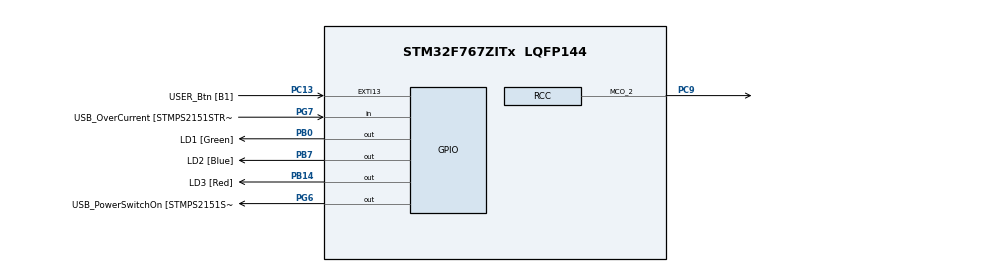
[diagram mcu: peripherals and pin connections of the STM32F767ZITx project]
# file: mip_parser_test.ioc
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CORTEX_M7.AccessPermission_Spec=MPU_REGION_FULL_ACCESS
CORTEX_M7.CPU_DCache=Disabled
CORTEX_M7.CPU_ICache=Enabled
CORTEX_M7.FlashInterface=TCM_Enabled
CORTEX_M7.IsBufferable_Spec=MPU_ACCESS_BUFFERABLE
CORTEX_M7.IsCacheable_Spec=MPU_ACCESS_CACHEABLE
CORTEX_M7.default_mode_Activation=1
Mcu.Family=STM32F7
Mcu.Name=STM32F767ZITx
Mcu.Package=LQFP144
NVIC.PriorityGroup=NVIC_PRIORITYGROUP_4
PA10.GPIO_Label=USB_ID
PA10.Signal=USB_OTG_FS_ID
PA11.GPIO_Label=USB_DM
PA11.Signal=USB_OTG_FS_DM
PA12.GPIO_Label=USB_DP
PA12.Signal=USB_OTG_FS_DP
PA8.GPIO_Label=USB_SOF [TP1]
PA8.Signal=USB_OTG_FS_SOF
PA9.GPIO_Label=USB_VBUS
PA9.Signal=USB_OTG_FS_VBUS
PB0.GPIO_Label=LD1 [Green]
PB0.Signal=GPIO_Output
PB14.GPIO_Label=LD3 [Red]
PB14.Signal=GPIO_Output
PB3.GPIO_Label=SW0
PB3.Signal=SYS_JTDO-SWO
PB7.GPIO_Label=LD2 [Blue]
PB7.Signal=GPIO_Output
PC13.GPIO_Label=USER_Btn [B1]
PC13.Signal=GPXTI13
PC9.Mode=Clock-out-2
PC9.Signal=RCC_MCO_2
PD8.GPIO_Label=STLK_RX [STM32F103CBT6_PA3]
PD8.Signal=USART3_TX
PD9.GPIO_Label=STLK_TX [STM32F103CBT6_PA2]
PD9.Signal=USART3_RX
PG6.GPIO_Label=USB_PowerSwitchOn [STMPS2151STR_EN]
PG6.Signal=GPIO_Output
PG7.GPIO_Label=USB_OverCurrent [STMPS2151STR_FAULT]
PG7.Signal=GPIO_Input
PH0/OSC_IN.GPIO_Label=MCO [STM32F103CBT6_PA8]
PH0/OSC_IN.Mode=HSE-External-Clock-Source
PH0/OSC_IN.Signal=RCC_OSC_IN
PH1/OSC_OUT.Mode=HSE-External-Clock-Source
PH1/OSC_OUT.Signal=RCC_OSC_OUT
ProjectManager.HeapSize=0x200
ProjectManager.StackSize=0x400
ProjectManager.TargetToolchain=CMake
RCC.48MHZClocksFreq_Value=24000000
RCC.AHBFreq_Value=200000000
RCC.APB1CLKDivider=RCC_HCLK_DIV4
RCC.APB1Freq_Value=50000000
RCC.APB1TimFreq_Value=100000000
RCC.APB2CLKDivider=RCC_HCLK_DIV2
RCC.APB2Freq_Value=100000000
RCC.APB2TimFreq_Value=200000000
RCC.CortexFreq_Value=200000000
RCC.HCLKFreq_Value=200000000
RCC.HSE_VALUE=8000000
RCC.HSI_VALUE=16000000
RCC.LSE_VALUE=32768
RCC.PLLM=8
RCC.PLLMUL=RCC_PLL_MUL9
RCC.PLLN=400
RCC.PLLSourceVirtual=RCC_PLLSOURCE_HSE
RCC.PRESCALERUSB=RCC_USBCLKSOURCE_PLL_DIV1_5
RCC.RCC_MCODiv2=RCC_MCODIV_5
RCC.SYSCLKFreq_VALUE=200000000
RCC.SYSCLKSource=RCC_SYSCLKSOURCE_PLLCLK
RCC.SYSCLKSourceVirtual=RCC_SYSCLKSOURCE_PLLCLK
RCC.USBFreq_Value=200000000
RCC.VCOOutputFreq_Value=400000000
board=NUCLEO-F767ZI

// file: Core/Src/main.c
/* USER CODE BEGIN Header */
/**
  ******************************************************************************
  * @file           : main.c
  * @brief          : Main program body
  ******************************************************************************
  * @attention
  *
  * Copyright (c) 2024 STMicroelectronics.
  * All rights reserved.
  *
  * This software is licensed under terms that can be found in the LICENSE file
  * in the root directory of this software component.
  * If no LICENSE file comes with this software, it is provided AS-IS.
  *
  ******************************************************************************
  */
/* USER CODE END Header */
#include "main.h"

/* USER CODE BEGIN Includes */
#include <mip/mip_parser.h>

#include "stdint.h"
#include "stddef.h"
#include "string.h"
/* USER CODE END Includes */

void SystemClock_Config(void);
static void MPU_Config(void);
static void MX_GPIO_Init(void);

/* USER CODE BEGIN 0 */
uint8_t data[8192] = {0};
size_t num_bytes = 0;
const uint8_t DATA_PACKET[] = {
    0x75,0x65,0x82,0xc1,0x0e,0xd3,0x40,0x8c,0x84,0xef,0x9d,0xb2,0x2d,0x0f,0x00,0x00,
    0x00,0x00,0x0a,0xd5,0x00,0x00,0x00,0xd4,0x7c,0x36,0x4c,0x40,0x10,0x05,0x7f,0xff,
    0xff,0xf8,0x7f,0xc0,0x00,0x00,0x7f,0xff,0xff,0xf8,0x00,0x01,0x10,0x06,0x7f,0xc0,
    0x00,0x00,0x7f,0xc0,0x00,0x00,0x7f,0xc0,0x00,0x00,0x00,0x01,0x10,0x07,0x00,0x00,
    0x00,0x00,0x00,0x00,0x00,0x00,0x00,0x00,0x00,0x00,0x00,0x01,0x08,0x10,0x00,0x02,
    0x00,0x00,0x00,0x00,0x1c,0x01,0x00,0x00,0x00,0x00,0x00,0x00,0x00,0x00,0x00,0x00,
    0x00,0x00,0x00,0x00,0x00,0x00,0x00,0x00,0x00,0x00,0x00,0x00,0x00,0x00,0x00,0x00,
    0x10,0x02,0x7f,0xc0,0x00,0x00,0x7f,0xc0,0x00,0x00,0x7f,0xc0,0x00,0x00,0x00,0x00,
    0x1c,0x42,0x7f,0xf8,0x00,0x00,0x00,0x00,0x00,0x00,0x7f,0xf8,0x00,0x00,0x00,0x00,
    0x00,0x00,0x7f,0xf8,0x00,0x00,0x00,0x00,0x00,0x00,0x00,0x00,0x09,0x46,0x44,0x64,
    0x26,0x87,0x00,0x04,0x01,0x10,0x08,0x00,0x00,0x00,0x00,0x00,0x00,0x00,0x00,0x00,
    0x00,0x00,0x00,0x00,0x00,0x10,0x09,0x00,0x00,0x00,0x00,0x00,0x00,0x00,0x00,0x00,
    0x00,0x00,0x00,0x00,0x00,0x87,0x56,  // 199 bytes
};

mip_parser parser;
size_t num_parsed = 0;

uint8_t parse_buffer[1024];

bool callback(void* p, const mip_packet* packet, timestamp_type ts)
{
    (void)p;
    (void)ts;

    num_parsed++;
    return true;
}

/* USER CODE END 0 */

int main(void)
{

  /* MPU Configuration--------------------------------------------------------*/
  MPU_Config();

  /* Enable the CPU Cache */

  /* Enable I-Cache---------------------------------------------------------*/
  SCB_EnableICache();

  /* MCU Configuration--------------------------------------------------------*/

  /* Reset of all peripherals, Initializes the Flash interface and the Systick. */
  LL_APB1_GRP1_EnableClock(LL_APB1_GRP1_PERIPH_PWR);
  LL_APB2_GRP1_EnableClock(LL_APB2_GRP1_PERIPH_SYSCFG);

  /* System interrupt init*/
  NVIC_SetPriorityGrouping(NVIC_PRIORITYGROUP_4);

  /* Configure the system clock */
  SystemClock_Config();

  /* Initialize all configured peripherals */
  MX_GPIO_Init();
  /* USER CODE BEGIN 2 */

  const size_t num_pkts_buffered = sizeof(data) / sizeof(DATA_PACKET);
  for(size_t i=0; i<num_pkts_buffered; i++)
      memcpy(data+i*sizeof(DATA_PACKET), DATA_PACKET, sizeof(DATA_PACKET));
  num_bytes = num_pkts_buffered * sizeof(DATA_PACKET);

  mip_parser_init(&parser, parse_buffer, sizeof(parse_buffer), &callback, NULL, MIPPARSER_DEFAULT_TIMEOUT_MS);

  /* USER CODE END 2 */

  /* Infinite loop */
  /* USER CODE BEGIN WHILE */
  while (1)
  {
      mip_parser_reset(&parser);
      num_parsed = 0;

      // Timing on the blue LED pin.
      // Use an oscilloscope with "+width" measurement on PB7 to measure time taken.
      // Divide num_bytes by the measured time to get throughput in B/s.
      LL_GPIO_SetOutputPin(LD2_GPIO_Port, LD2_Pin);
#if 0  // Send chunks to mip_parser_parse vs directly writing data via get_write_ptr
      const unsigned int n = 4;  // sizeof(data) must divide by this evenly
      for(unsigned int i=0; i<n; i++)
          mip_parser_parse(&parser, data+sizeof(data)/n*i, sizeof(data)/n, 0, MIPPARSER_UNLIMITED_PACKETS);
#else
      size_t sent = 0;
      while(sent < num_bytes)
      {
          const size_t remaining = num_bytes-sent;

          uint8_t* ptr;
          size_t count = mip_parser_get_write_ptr(&parser, &ptr);
          if(count > remaining)
              count = remaining;

          memcpy(ptr, data+sent, count);

          mip_parser_process_written(&parser, count, 0, MIPPARSER_UNLIMITED_PACKETS);
          sent += count;
      }
#endif
      LL_GPIO_ResetOutputPin(LD2_GPIO_Port, LD2_Pin);

      // Green LED if all packets parsed, red LED otherwise
      if(num_parsed == num_pkts_buffered)
          LL_GPIO_SetOutputPin(LD1_GPIO_Port, LD1_Pin);
      else
          LL_GPIO_SetOutputPin(LD3_GPIO_Port, LD3_Pin);
    /* USER CODE END WHILE */

    /* USER CODE BEGIN 3 */
        while(!LL_GPIO_IsInputPinSet(USER_Btn_GPIO_Port, USER_Btn_Pin));
        LL_GPIO_ResetOutputPin(LD1_GPIO_Port, LD1_Pin);
        LL_GPIO_ResetOutputPin(LD3_GPIO_Port, LD3_Pin);
        while(LL_GPIO_IsInputPinSet(USER_Btn_GPIO_Port, USER_Btn_Pin));
  }
  /* USER CODE END 3 */
}

void SystemClock_Config(void)
{
  LL_FLASH_SetLatency(LL_FLASH_LATENCY_6);
  while(LL_FLASH_GetLatency()!= LL_FLASH_LATENCY_6)
  {
  }
  LL_PWR_SetRegulVoltageScaling(LL_PWR_REGU_VOLTAGE_SCALE1);
  LL_PWR_EnableOverDriveMode();
  LL_RCC_HSE_EnableBypass();
  LL_RCC_HSE_Enable();

   /* Wait till HSE is ready */
  while(LL_RCC_HSE_IsReady() != 1)
  {

  }
  LL_RCC_PLL_ConfigDomain_SYS(LL_RCC_PLLSOURCE_HSE, LL_RCC_PLLM_DIV_8, 400, LL_RCC_PLLP_DIV_2);
  LL_RCC_PLL_Enable();

   /* Wait till PLL is ready */
  while(LL_RCC_PLL_IsReady() != 1)
  {

  }
  while (LL_PWR_IsActiveFlag_VOS() == 0)
  {
  }
  LL_RCC_SetAHBPrescaler(LL_RCC_SYSCLK_DIV_1);
  LL_RCC_SetAPB1Prescaler(LL_RCC_APB1_DIV_4);
  LL_RCC_SetAPB2Prescaler(LL_RCC_APB2_DIV_2);
  LL_RCC_SetSysClkSource(LL_RCC_SYS_CLKSOURCE_PLL);

   /* Wait till System clock is ready */
  while(LL_RCC_GetSysClkSource() != LL_RCC_SYS_CLKSOURCE_STATUS_PLL)
  {

  }
  LL_Init1msTick(200000000);
  LL_SetSystemCoreClock(200000000);
  LL_RCC_ConfigMCO(LL_RCC_MCO2SOURCE_SYSCLK, LL_RCC_MCO2_DIV_5);

   /* Set Timers Clock Prescalers */
  LL_RCC_SetTIMPrescaler(LL_RCC_TIM_PRESCALER_TWICE);
}

static void MX_GPIO_Init(void)
{
  LL_EXTI_InitTypeDef EXTI_InitStruct = {0};
  LL_GPIO_InitTypeDef GPIO_InitStruct = {0};

  /* GPIO Ports Clock Enable */
  LL_AHB1_GRP1_EnableClock(LL_AHB1_GRP1_PERIPH_GPIOC);
  LL_AHB1_GRP1_EnableClock(LL_AHB1_GRP1_PERIPH_GPIOH);
  LL_AHB1_GRP1_EnableClock(LL_AHB1_GRP1_PERIPH_GPIOB);
  LL_AHB1_GRP1_EnableClock(LL_AHB1_GRP1_PERIPH_GPIOD);
  LL_AHB1_GRP1_EnableClock(LL_AHB1_GRP1_PERIPH_GPIOG);
  LL_AHB1_GRP1_EnableClock(LL_AHB1_GRP1_PERIPH_GPIOA);

  /**/
  LL_GPIO_ResetOutputPin(LD1_GPIO_Port, LD1_Pin);

  /**/
  LL_GPIO_ResetOutputPin(LD3_GPIO_Port, LD3_Pin);

  /**/
  LL_GPIO_ResetOutputPin(USB_PowerSwitchOn_GPIO_Port, USB_PowerSwitchOn_Pin);

  /**/
  LL_GPIO_ResetOutputPin(LD2_GPIO_Port, LD2_Pin);

  /**/
  LL_SYSCFG_SetEXTISource(LL_SYSCFG_EXTI_PORTC, LL_SYSCFG_EXTI_LINE13);

  /**/
  EXTI_InitStruct.Line_0_31 = LL_EXTI_LINE_13;
  EXTI_InitStruct.LineCommand = ENABLE;
  EXTI_InitStruct.Mode = LL_EXTI_MODE_IT;
  EXTI_InitStruct.Trigger = LL_EXTI_TRIGGER_RISING;
  LL_EXTI_Init(&EXTI_InitStruct);

  /**/
  LL_GPIO_SetPinPull(USER_Btn_GPIO_Port, USER_Btn_Pin, LL_GPIO_PULL_NO);

  /**/
  LL_GPIO_SetPinMode(USER_Btn_GPIO_Port, USER_Btn_Pin, LL_GPIO_MODE_INPUT);

  /**/
  GPIO_InitStruct.Pin = LD1_Pin;
  GPIO_InitStruct.Mode = LL_GPIO_MODE_OUTPUT;
  GPIO_InitStruct.Speed = LL_GPIO_SPEED_FREQ_LOW;
  GPIO_InitStruct.OutputType = LL_GPIO_OUTPUT_PUSHPULL;
  GPIO_InitStruct.Pull = LL_GPIO_PULL_NO;
  LL_GPIO_Init(LD1_GPIO_Port, &GPIO_InitStruct);

  /**/
  GPIO_InitStruct.Pin = LD3_Pin;
  GPIO_InitStruct.Mode = LL_GPIO_MODE_OUTPUT;
  GPIO_InitStruct.Speed = LL_GPIO_SPEED_FREQ_LOW;
  GPIO_InitStruct.OutputType = LL_GPIO_OUTPUT_PUSHPULL;
  GPIO_InitStruct.Pull = LL_GPIO_PULL_NO;
  LL_GPIO_Init(LD3_GPIO_Port, &GPIO_InitStruct);

  /**/
  GPIO_InitStruct.Pin = STLK_RX_Pin;
  GPIO_InitStruct.Mode = LL_GPIO_MODE_ALTERNATE;
  GPIO_InitStruct.Speed = LL_GPIO_SPEED_FREQ_VERY_HIGH;
  GPIO_InitStruct.OutputType = LL_GPIO_OUTPUT_PUSHPULL;
  GPIO_InitStruct.Pull = LL_GPIO_PULL_NO;
  GPIO_InitStruct.Alternate = LL_GPIO_AF_7;
  LL_GPIO_Init(STLK_RX_GPIO_Port, &GPIO_InitStruct);

  /**/
  GPIO_InitStruct.Pin = STLK_TX_Pin;
  GPIO_InitStruct.Mode = LL_GPIO_MODE_ALTERNATE;
  GPIO_InitStruct.Speed = LL_GPIO_SPEED_FREQ_VERY_HIGH;
  GPIO_InitStruct.OutputType = LL_GPIO_OUTPUT_PUSHPULL;
  GPIO_InitStruct.Pull = LL_GPIO_PULL_NO;
  GPIO_InitStruct.Alternate = LL_GPIO_AF_7;
  LL_GPIO_Init(STLK_TX_GPIO_Port, &GPIO_InitStruct);

  /**/
  GPIO_InitStruct.Pin = USB_PowerSwitchOn_Pin;
  GPIO_InitStruct.Mode = LL_GPIO_MODE_OUTPUT;
  GPIO_InitStruct.Speed = LL_GPIO_SPEED_FREQ_LOW;
  GPIO_InitStruct.OutputType = LL_GPIO_OUTPUT_PUSHPULL;
  GPIO_InitStruct.Pull = LL_GPIO_PULL_NO;
  LL_GPIO_Init(USB_PowerSwitchOn_GPIO_Port, &GPIO_InitStruct);

  /**/
  GPIO_InitStruct.Pin = USB_OverCurrent_Pin;
  GPIO_InitStruct.Mode = LL_GPIO_MODE_INPUT;
  GPIO_InitStruct.Pull = LL_GPIO_PULL_NO;
  LL_GPIO_Init(USB_OverCurrent_GPIO_Port, &GPIO_InitStruct);

  /**/
  GPIO_InitStruct.Pin = LL_GPIO_PIN_9;
  GPIO_InitStruct.Mode = LL_GPIO_MODE_ALTERNATE;
  GPIO_InitStruct.Speed = LL_GPIO_SPEED_FREQ_LOW;
  GPIO_InitStruct.OutputType = LL_GPIO_OUTPUT_PUSHPULL;
  GPIO_InitStruct.Pull = LL_GPIO_PULL_NO;
  GPIO_InitStruct.Alternate = LL_GPIO_AF_0;
  LL_GPIO_Init(GPIOC, &GPIO_InitStruct);

  /**/
  GPIO_InitStruct.Pin = USB_SOF_Pin;
  GPIO_InitStruct.Mode = LL_GPIO_MODE_ALTERNATE;
  GPIO_InitStruct.Speed = LL_GPIO_SPEED_FREQ_VERY_HIGH;
  GPIO_InitStruct.OutputType = LL_GPIO_OUTPUT_PUSHPULL;
  GPIO_InitStruct.Pull = LL_GPIO_PULL_NO;
  GPIO_InitStruct.Alternate = LL_GPIO_AF_10;
  LL_GPIO_Init(USB_SOF_GPIO_Port, &GPIO_InitStruct);

  /**/
  GPIO_InitStruct.Pin = USB_VBUS_Pin;
  GPIO_InitStruct.Mode = LL_GPIO_MODE_INPUT;
  GPIO_InitStruct.Pull = LL_GPIO_PULL_NO;
  LL_GPIO_Init(USB_VBUS_GPIO_Port, &GPIO_InitStruct);

  /**/
  GPIO_InitStruct.Pin = USB_ID_Pin;
  GPIO_InitStruct.Mode = LL_GPIO_MODE_ALTERNATE;
  GPIO_InitStruct.Speed = LL_GPIO_SPEED_FREQ_VERY_HIGH;
  GPIO_InitStruct.OutputType = LL_GPIO_OUTPUT_PUSHPULL;
  GPIO_InitStruct.Pull = LL_GPIO_PULL_NO;
  GPIO_InitStruct.Alternate = LL_GPIO_AF_10;
  LL_GPIO_Init(USB_ID_GPIO_Port, &GPIO_InitStruct);

  /**/
  GPIO_InitStruct.Pin = USB_DM_Pin;
  GPIO_InitStruct.Mode = LL_GPIO_MODE_ALTERNATE;
  GPIO_InitStruct.Speed = LL_GPIO_SPEED_FREQ_VERY_HIGH;
  GPIO_InitStruct.OutputType = LL_GPIO_OUTPUT_PUSHPULL;
  GPIO_InitStruct.Pull = LL_GPIO_PULL_NO;
  GPIO_InitStruct.Alternate = LL_GPIO_AF_10;
  LL_GPIO_Init(USB_DM_GPIO_Port, &GPIO_InitStruct);

  /**/
  GPIO_InitStruct.Pin = USB_DP_Pin;
  GPIO_InitStruct.Mode = LL_GPIO_MODE_ALTERNATE;
  GPIO_InitStruct.Speed = LL_GPIO_SPEED_FREQ_VERY_HIGH;
  GPIO_InitStruct.OutputType = LL_GPIO_OUTPUT_PUSHPULL;
  GPIO_InitStruct.Pull = LL_GPIO_PULL_NO;
  GPIO_InitStruct.Alternate = LL_GPIO_AF_10;
  LL_GPIO_Init(USB_DP_GPIO_Port, &GPIO_InitStruct);

  /**/
  GPIO_InitStruct.Pin = LD2_Pin;
  GPIO_InitStruct.Mode = LL_GPIO_MODE_OUTPUT;
  GPIO_InitStruct.Speed = LL_GPIO_SPEED_FREQ_LOW;
  GPIO_InitStruct.OutputType = LL_GPIO_OUTPUT_PUSHPULL;
  GPIO_InitStruct.Pull = LL_GPIO_PULL_NO;
  LL_GPIO_Init(LD2_GPIO_Port, &GPIO_InitStruct);

}

 /* MPU Configuration */

void MPU_Config(void)
{

  /* Disables the MPU */
  LL_MPU_Disable();

  /** Initializes and configures the Region and the memory to be protected
  */
  LL_MPU_ConfigRegion(LL_MPU_REGION_NUMBER0, 0x87, 0x0, LL_MPU_REGION_SIZE_4GB|LL_MPU_TEX_LEVEL0|LL_MPU_REGION_FULL_ACCESS|LL_MPU_INSTRUCTION_ACCESS_DISABLE|LL_MPU_ACCESS_SHAREABLE|LL_MPU_ACCESS_CACHEABLE|LL_MPU_ACCESS_BUFFERABLE);
  /* Enables the MPU */
  LL_MPU_Enable(LL_MPU_CTRL_PRIVILEGED_DEFAULT);

}

void Error_Handler(void)
{
  __disable_irq();
  while (1)
  {
  }
}
